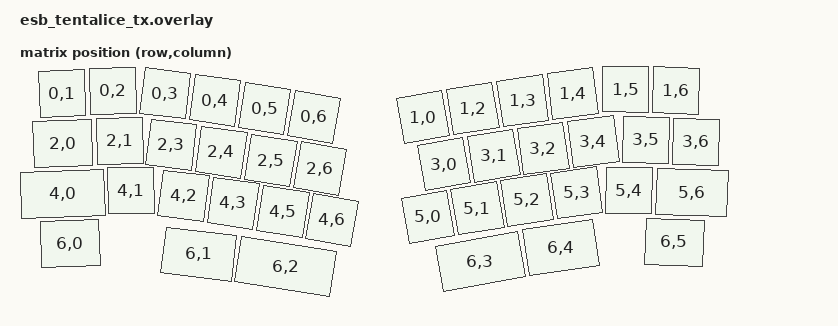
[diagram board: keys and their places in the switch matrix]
/*
 * ESB TX on the real TentAlice PCB (unibody, XIAO nRF52840,
 * PMW3610 trackball).
 *
 * Hardware definition copied from zmk-config-tentalice
 * (boards/shields/tentalice): charlieplex kscan on xiao_d
 * 2/3/5/4/1/0/9 with wake interrupt on P0.09 (NFC pin, needs
 * nfct-pins-as-gpios), trackball on spi0 (SCK P1.13, MOSI/MISO
 * P1.15, CS xiao_d 7, motion xiao_d 6), WS2812 x4 on spi3
 * MOSI P0.10.
 *
 * SPDX-License-Identifier: MIT
 */

#include <dt-bindings/zmk/matrix_transform.h>
#include <dt-bindings/led/led.h>
#include <physical_layouts.dtsi>

/ {
    chosen {
        zmk,kscan = <&kscan0>;
        zmk,physical-layout = <&tentalice_default_layout>;
        zmk,underglow = &led_strip;
    };

    kscan0: kscan {
        compatible = "zmk,kscan-gpio-charlieplex";
        wakeup-source;
        interrupt-gpios = <&gpio0 9 (GPIO_ACTIVE_HIGH | GPIO_PULL_DOWN)>;

        gpios
            = <&xiao_d 2 GPIO_ACTIVE_HIGH>
            , <&xiao_d 3 GPIO_ACTIVE_HIGH>
            , <&xiao_d 5 GPIO_ACTIVE_HIGH>
            , <&xiao_d 4 GPIO_ACTIVE_HIGH>
            , <&xiao_d 1 GPIO_ACTIVE_HIGH>
            , <&xiao_d 0 GPIO_ACTIVE_HIGH>
            , <&xiao_d 9 GPIO_ACTIVE_HIGH>
            ;
    };

    default_transform: matrix_transform {
        compatible = "zmk,matrix-transform";
        rows = <7>;
        columns = <7>;
        map = <
            RC(0,1) RC(0,2) RC(0,3) RC(0,4) RC(0,5) RC(0,6)   RC(1,0) RC(1,2) RC(1,3) RC(1,4) RC(1,5) RC(1,6)
            RC(2,0) RC(2,1) RC(2,3) RC(2,4) RC(2,5) RC(2,6)   RC(3,0) RC(3,1) RC(3,2) RC(3,4) RC(3,5) RC(3,6)
            RC(4,0) RC(4,1) RC(4,2) RC(4,3) RC(4,5) RC(4,6)   RC(5,0) RC(5,1) RC(5,2) RC(5,3) RC(5,4) RC(5,6)
            RC(6,0)                 RC(6,1) RC(6,2)                   RC(6,3) RC(6,4)                 RC(6,5)
        >;
    };

    tentalice_default_layout: tentalice_default_layout {
        compatible = "zmk,physical-layout";
        display-name = "Tentalice";
        transform = <&default_transform>;
        kscan = <&kscan0>;

        keys  //                     w   h    x    y     rot    rx    ry
            = <&key_physical_attrs 100 100   40   45  (-200)   160    85>
            , <&key_physical_attrs 100 100  140   45  (-100)     0  (-5)>
            , <&key_physical_attrs 100 100  212   45     700   265   375>
            , <&key_physical_attrs 100 100  310   45     800   265   360>
            , <&key_physical_attrs 100 100  410   45     900   275   335>
            , <&key_physical_attrs 100 100  510   45    1000   295   315>

            , <&key_physical_attrs 100 100  800   45 (-1000)  1115   335>
            , <&key_physical_attrs 100 100  900   45  (-900)  1135   355>
            , <&key_physical_attrs 100 100 1000   45  (-800)  1150   380>
            , <&key_physical_attrs 100 100 1100   45  (-700)  1150   410>
            , <&key_physical_attrs 100 100 1165   20     100   130   195>
            , <&key_physical_attrs 100 100 1270    0     200   140    15>

            , <&key_physical_attrs 125 100   25  145  (-200)   160    90>
            , <&key_physical_attrs 100 100  155  145  (-100)    65   175>
            , <&key_physical_attrs 100 100  240  145     700   260   350>
            , <&key_physical_attrs 100 100  340  145     800   260   335>
            , <&key_physical_attrs 100 100  440  145     900   270   325>
            , <&key_physical_attrs 100 100  540  145    1000   300   315>

            , <&key_physical_attrs 100 100  825  145 (-1000)  1115   335>
            , <&key_physical_attrs 100 100  925  145  (-900)  1135   345>
            , <&key_physical_attrs 100 100 1025  145  (-800)  1150   360>
            , <&key_physical_attrs 100 100 1125  145  (-700)  1150   375>
            , <&key_physical_attrs 100 100 1210  125     100   370    45>
            , <&key_physical_attrs 100 100 1310  100     200    90   120>

            , <&key_physical_attrs 175 100    0  245  (-200)   160   195>
            , <&key_physical_attrs 100 100  175  245  (-100)     0    85>
            , <&key_physical_attrs 100 100  275  245     700   275   365>
            , <&key_physical_attrs 100 100  373  245     800   275   375>
            , <&key_physical_attrs 100 100  473  245     900   285   370>
            , <&key_physical_attrs 100 100  573  245    1000   310   365>

            , <&key_physical_attrs 100 100  775  245 (-1000)  1105   335>
            , <&key_physical_attrs 100 100  875  245 (-1000)  1105   335>
            , <&key_physical_attrs 100 100  975  245  (-900)  1120   335>
            , <&key_physical_attrs 100 100 1075  245  (-800)  1130   335>
            , <&key_physical_attrs 100 100 1190  225     100   300 (-600)>
            , <&key_physical_attrs 150 100 1285  200     200    50     0>

            , <&key_physical_attrs 125 100   30  345  (-200)   165  (-5)>
            , <&key_physical_attrs 150 100  265  350     700   200   600>
            , <&key_physical_attrs 200 100  413  350     900   250   575>

            , <&key_physical_attrs 175 100  825  350 (-1000)  1110   335>
            , <&key_physical_attrs 150 100 1000  350  (-800)  1120   310>
            , <&key_physical_attrs 125 100 1260  300     200    50   155>
            ;
    };
};

&uicr {
    nfct-pins-as-gpios;
};

&xiao_serial { status = "disabled"; };

&pinctrl {
    spi3_default: spi3_default {
        group1 {
            psels = <NRF_PSEL(SPIM_MOSI, 0, 10)>;
        };
    };

    spi3_sleep: spi3_sleep {
        group1 {
            psels = <NRF_PSEL(SPIM_MOSI, 0, 10)>;
            low-power-enable;
        };
    };

    spi0_default: spi0_default {
        group1 {
            psels = <NRF_PSEL(SPIM_SCK, 1, 13)>,
                    <NRF_PSEL(SPIM_MOSI, 1, 15)>,
                    <NRF_PSEL(SPIM_MISO, 1, 15)>;
        };
    };

    spi0_sleep: spi0_sleep {
        group1 {
            psels = <NRF_PSEL(SPIM_SCK, 1, 13)>,
                    <NRF_PSEL(SPIM_MOSI, 1, 15)>,
                    <NRF_PSEL(SPIM_MISO, 1, 15)>;
            low-power-enable;
        };
    };
};

&spi3 {
    compatible = "nordic,nrf-spim";
    status = "okay";

    pinctrl-0 = <&spi3_default>;
    pinctrl-1 = <&spi3_sleep>;
    pinctrl-names = "default", "sleep";

    led_strip: ws2812@0 {
        compatible = "worldsemi,ws2812-spi";

        reg = <0>;
        spi-max-frequency = <4000000>;
        chain-length = <4>;
        spi-one-frame = <0x70>;
        spi-zero-frame = <0x40>;
        color-mapping = <LED_COLOR_ID_GREEN
                         LED_COLOR_ID_RED
                         LED_COLOR_ID_BLUE>;
    };
};

#include <zephyr/dt-bindings/input/input-event-codes.h>

&spi0 {
    status = "okay";
    compatible = "nordic,nrf-spim";
    pinctrl-0 = <&spi0_default>;
    pinctrl-1 = <&spi0_sleep>;
    pinctrl-names = "default", "sleep";
    cs-gpios = <&xiao_d 7 GPIO_ACTIVE_LOW>;

    trackball: trackball@0 {
        status = "okay";
        compatible = "pixart,pmw3610";
        reg = <0>;
        spi-max-frequency = <2000000>;
        motion-gpios = <&xiao_d 6 (GPIO_ACTIVE_LOW | GPIO_PULL_UP)>;
        res-cpi = <800>;
        zephyr,axis-x = <INPUT_REL_X>;
        zephyr,axis-y = <INPUT_REL_Y>;
    };
};
